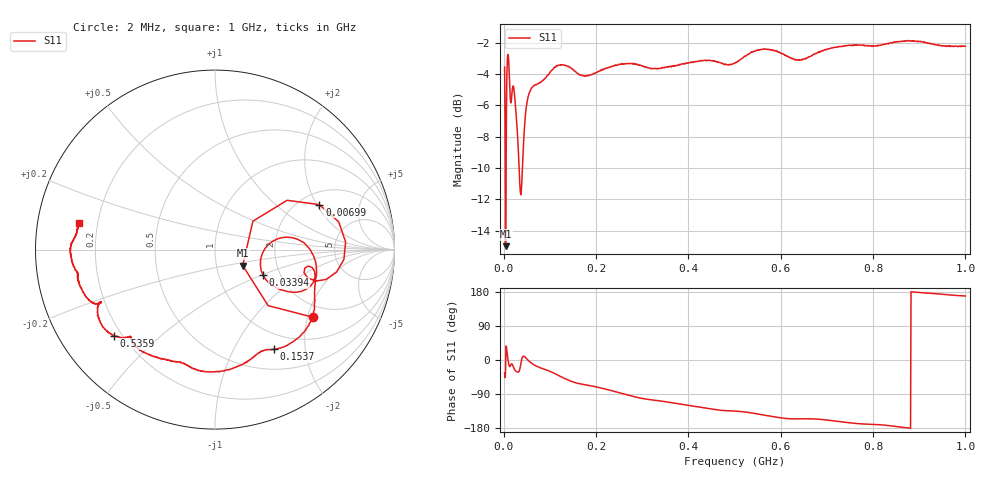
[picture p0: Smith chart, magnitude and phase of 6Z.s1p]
!Keysight Technologies N9923A: A.08.19
!Date: Thursday, 16 January 2020 11:30:00
!TimeZone: (GMT-03:00) Brasilia!Model: N9923A
!Serial: MY51491501
!GPS Latitude:
!GPS Longitude:
!GPS TimeStamp: 0001-01-01 00:00:00Z
!GPS Seconds Since Last Read: 0
!CHECKSUM:1078980270
!Correction: S11(ON U)
!S1P File: Measurement: S11:
# Hz S DB R 50
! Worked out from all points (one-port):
!   1001 points, 2 MHz to 1 GHz, reference 50 ohm
!   lowest |S11| = -15.0 dB at 3.996 MHz (marker M1), VSWR 1.43, Z = 67 - j12.3 ohm
!   |S11| at or under -10 dB: 3.346 MHz to 5.289 MHz (1.943 MHz wide, 45 % of centre); 33.4 MHz to 40.61 MHz (7.206 MHz wide, 19.5 % of centre)
!   S11 on the Smith chart (normalised r, x): 2 MHz: 1.61, -2.17; 6.99 MHz: 2.52, +2.11; 33.94 MHz: 1.63, -0.51; 153.7 MHz: 0.77, -1.46; 535.9 MHz: 0.17, -0.36; 1 GHz: 0.13, +0.10
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2000000  -3.55 -34.6
3996000  -14.99 -29.9
6990000  -3.96 23.3
9984000  -2.85 -4.3
1.198e7  -3.86 -15.0
1.4974e7  -5.81 -14.6
2.2958e7  -5.14 -23.6
2.7948e7  -6.99 -30.7
3.3936e7  -10.39 -27.8
3.8926e7  -11.12 1.1
4.691e7  -6.66 7.1
5.3896e7  -5.36 -1.9
6.3876e7  -4.78 -11.4
1.05792e8  -3.71 -32.8
1.2675e8  -3.40 -45.6
1.53696e8  -3.80 -59.4
2.515e8  -3.38 -86.8
3.014e8  -3.48 -101.8
3.7625e8  -3.43 -115.0
4.52098e8  -3.14 -129.7
5.01e8  -3.30 -134.7
5.3593e8  -2.60 -139.6
5.84832e8  -2.48 -150.0
6.2575e8  -3.02 -155.4
6.8563e8  -2.58 -156.8
7.505e8  -2.16 -165.8
8.7525e8  -1.88 -179.0
1e9  -2.22 168.9
